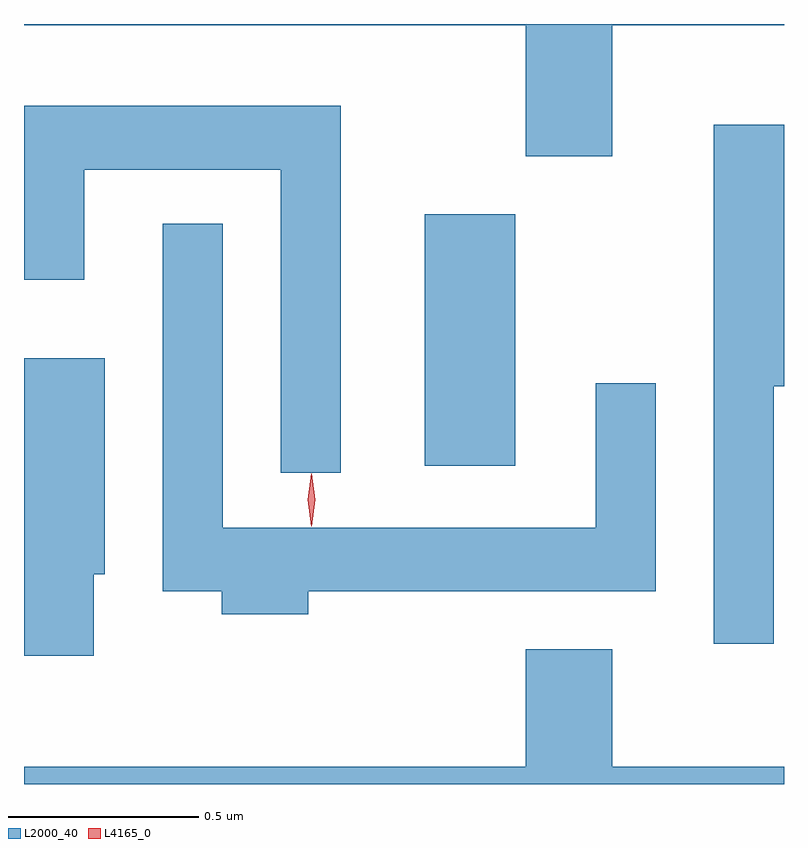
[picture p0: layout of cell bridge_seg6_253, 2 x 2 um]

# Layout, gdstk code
import gdstk
lib = gdstk.Library(unit=1e-6, precision=1e-09)
def R(c, l, rs):  # rectangles x0, y0, x1, y1
    for r in rs: c.add(gdstk.rectangle(r[:2], r[2:], *l))
def P(c, l, *ps):  # polygons
    for p in ps: c.add(gdstk.Polygon(p, *l))
L2000_40 = (2000, 40)
L4165_0 = (4165, 0)

bridge_seg6_253 = lib.new_cell('bridge_seg6_253')
R(bridge_seg6_253, L2000_40, [(1132.856,1548.876,1133.094,1549.539)])
P(bridge_seg6_253, L2000_40, [(1133.349,1550.036),(1133.801,1550.036),(1133.801,1550.039),(1131.801,1550.039),(1131.801,1550.036),(1133.121,1550.036),(1133.121,1549.691),(1133.349,1549.691)],
  [(1132.634,1549.824),(1131.801,1549.824),(1131.801,1549.366),(1131.959,1549.366),(1131.959,1549.656),(1132.476,1549.656),(1132.476,1548.858),(1132.634,1548.858)],
  [(1133.774,1549.086),(1133.801,1549.086),(1133.801,1549.774),(1133.616,1549.774),(1133.616,1548.408),(1133.774,1548.408)],
  [(1132.549,1548.546),(1133.464,1548.546),(1133.464,1549.093),(1133.306,1549.093),(1133.306,1548.714),(1132.324,1548.714),(1132.324,1549.513),(1132.166,1549.513),(1132.166,1548.546),(1132.321,1548.546),(1132.321,1548.486),(1132.549,1548.486)],
  [(1131.984,1548.591),(1132.014,1548.591),(1132.014,1549.159),(1131.801,1549.159),(1131.801,1548.376),(1131.984,1548.376)],
  [(1133.801,1548.084),(1133.349,1548.084),(1133.349,1548.394),(1133.121,1548.394),(1133.121,1548.084),(1131.801,1548.084),(1131.801,1548.039),(1133.801,1548.039)])
P(bridge_seg6_253, L4165_0, [(1132.557,1548.717),(1132.548,1548.787),(1132.557,1548.856),(1132.558,1548.856),(1132.558,1548.856),(1132.568,1548.787),(1132.558,1548.717),(1132.558,1548.717)])

lib.write_gds('bridge_seg6_253.gds')
